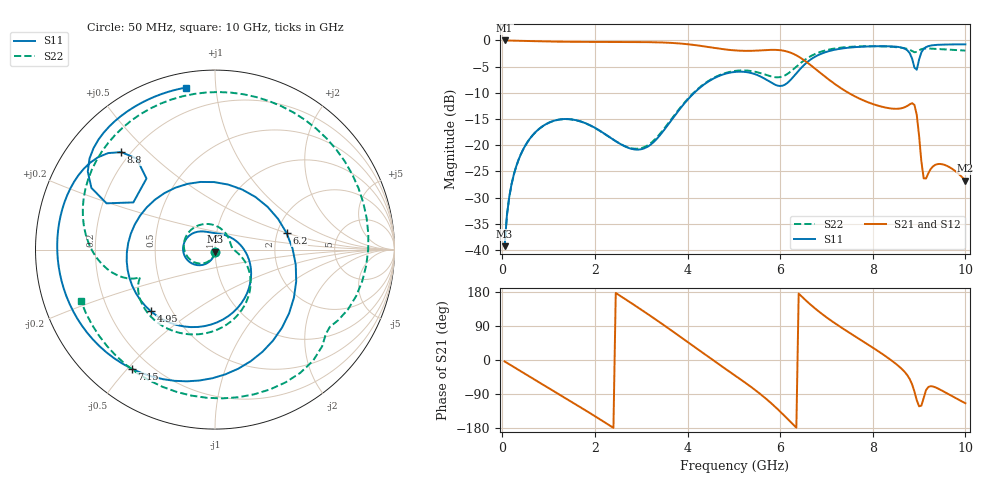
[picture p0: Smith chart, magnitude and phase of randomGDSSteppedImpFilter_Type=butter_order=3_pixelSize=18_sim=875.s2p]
! freq	dB(S11)	phase(S11)	dB(S12)	phase(S12)
!  dB(S21)	phase(S21)	dB(S22)	phase(S22)
!S-par simulation data
#  GHz  S  DB  R 50
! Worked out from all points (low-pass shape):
!   200 points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, 50 MHz to 10 GHz, reference 50 ohm
!   highest |S21| = -0.01 dB at 50 MHz (marker M1); lowest = -26.8 dB at 10 GHz (marker M2)
!   |S21| within 3 dB of the highest: start of sweep to 6.382 GHz
!   lowest |S11| = -39.3 dB at 50 MHz (marker M3), VSWR 1.02, Z = 50 - j1.09 ohm
!   |S11| at or under -10 dB: start of sweep to 4.145 GHz
!   |S22| runs from -39.3 to -1.1 dB; largest |S21 - S12| = 0
!   S11 on the Smith chart (normalised r, x): 50 MHz: 1.00, -0.02; 4.95 GHz: 0.38, -0.35; 6.2 GHz: 2.25, +0.50; 7.15 GHz: 0.13, -0.51; 8.8 GHz: 0.17, +0.42; 10 GHz: 0.07, +0.83
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0.05  -39.25 -91.6  -0.01 -3.8  -0.01 -3.8  -39.26 -92.1
0.2  -27.44 -103.7  -0.03 -15.0  -0.03 -15.0  -27.45 -105.7
0.55  -19.31 -128.5  -0.11 -40.9  -0.11 -40.9  -19.33 -134.1
1.15  -15.24 -168.7  -0.23 -84.9  -0.23 -84.9  -15.26 177.8
1.75  -15.63 153.7  -0.28 -129.3  -0.28 -129.3  -15.66 126.7
2.55  -19.77 109.5  -0.28 169.0  -0.28 169.0  -19.75 47.9
3.4  -18.14 24.9  -0.38 99.5  -0.38 99.5  -17.88 -8.6
4.2  -9.54 -63.9  -0.94 29.9  -0.94 29.9  -9.43 -58.6
4.95  -6.09 -136.0  -1.85 -34.5  -1.85 -34.5  -5.93 -114.0
5.05  -5.99 -146.0  -1.93 -43.0  -1.93 -43.0  -5.79 -120.8
5.7  -7.49 131.8  -1.84 -102.7  -1.84 -102.7  -6.59 -155.9
5.95  -8.64 78.6  -1.83 -130.2  -1.83 -130.2  -7.04 -159.8
6.2  -7.76 13.1  -2.26 -160.3  -2.26 -160.3  -6.12 -160.9
6.7  -3.40 -78.9  -5.00 141.5  -5.00 141.5  -2.82 173.8
7.15  -1.83 -125.0  -8.12 99.7  -8.12 99.7  -1.58 139.2
7.8  -1.19 -168.3  -11.45 48.3  -11.45 48.3  -1.12 84.2
8.35  -1.12 162.4  -12.93 3.7  -12.93 3.7  -1.19 28.7
8.8  -2.46 133.9  -12.19 -50.8  -12.19 -50.8  -1.80 -24.1
8.95  -5.59 150.0  -14.21 -106.2  -14.21 -106.2  -2.20 -37.3
9.1  -1.60 148.5  -26.33 -99.5  -26.33 -99.5  -1.57 -55.4
9.5  -0.80 122.8  -23.63 -81.1  -23.63 -81.1  -1.71 -104.9
10  -0.75 100.1  -26.78 -114.1  -26.78 -114.1  -1.94 -159.0
